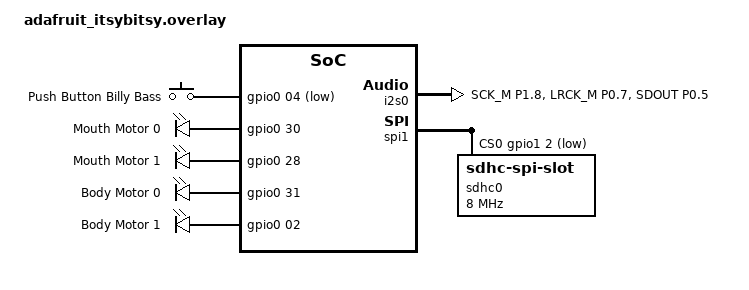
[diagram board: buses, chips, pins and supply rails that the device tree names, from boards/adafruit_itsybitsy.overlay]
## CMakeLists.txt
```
#-------------------------------------------------------------------------------
# Zephyr Example Application
#
# Copyright (c) 2021 Nordic Semiconductor ASA
# SPDX-License-Identifier: Apache-2.0

cmake_minimum_required(VERSION 3.13.1)
find_package(Zephyr REQUIRED HINTS $ENV{ZEPHYR_BASE})

project(app LANGUAGES C)

target_sources(app PRIVATE src/main.c src/shell.c src/bmbbp.c src/audio.c src/motor.c)
```

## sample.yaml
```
# This file is provided so that the application can be compiled using Twister,
# the Zephyr testing tool. In this file, multiple combinations can be specified,
# so that you can easily test all of them locally or in CI.
sample:
  description: Big Mouth Billy Bass
  name: bmbb 
common:
  build_only: true
  modules:
    - fatfs
  integration_platforms:
    - adafruit_itsybitsy
tests:
  app.default: {}
  app.debug:
    extra_overlay_confs:
      - debug.conf
```

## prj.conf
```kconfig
# Copyright (c) 2021 Nordic Semiconductor ASA
# SPDX-License-Identifier: Apache-2.0
#
# This file contains selected Kconfig options for the application.
CONFIG_HEAP_MEM_POOL_SIZE=131072
CONFIG_SPI=y
CONFIG_DISK_ACCESS=y
CONFIG_DISK_DRIVER_SDMMC=y
CONFIG_LOG=y
CONFIG_FILE_SYSTEM=y
CONFIG_FAT_FILESYSTEM_ELM=y
CONFIG_PRINTK=y
CONFIG_MAIN_STACK_SIZE=2048
CONFIG_FS_FATFS_MOUNT_MKFS=n
CONFIG_GPIO=y
CONFIG_RETAINED_MEM=y
CONFIG_REBOOT=y
CONFIG_SHELL=y
CONFIG_FILE_SYSTEM_SHELL=y
CONFIG_GPIO_SHELL=y
CONFIG_INPUT=y
CONFIG_I2S=y
CONFIG_POWEROFF=y
```

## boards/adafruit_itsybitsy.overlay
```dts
/*
 * Copyright (c) 2021 Nordic Semiconductor ASA
 * SPDX-License-Identifier: Apache-2.0
 */

/* This devicetree overlay file will be automatically picked by the Zephyr
 * build system when building the sample for the nucleo_f302r8 board. It shows
 * how the example-application can be built on sample boards already provided
 * by Zephyr.
 */

/ {
	aliases {
		speaker-i2s = &i2s0;
	};

	buttons {
		button1: button_1 {
			gpios = <&gpio0 04 (GPIO_PULL_UP | GPIO_ACTIVE_LOW)>;
			label = "Push Button Billy Bass";
			zephyr,code = <INPUT_KEY_1>;
		};
	};

	longpress: longpress {
		input = <&{/buttons}>;
		compatible = "zephyr,input-longpress";
		input-codes = <INPUT_KEY_0>, <INPUT_KEY_1>;
		short-codes = <INPUT_KEY_A>, <INPUT_KEY_A>;
		long-codes  = <INPUT_KEY_B>, <INPUT_KEY_B>;
		long-delay-ms = <3000>;
	};

	/* These should be PWMs but it seems like they only
	 * work well if driven at 100% so might as well make 
	 * them gpios.
	 */
	motors {
		compatible = "gpio-leds";
		mouth0: mouth_0 {
			gpios = <&gpio0 30 GPIO_ACTIVE_HIGH>;
			label = "Mouth Motor 0";
		};
		mouth1: mouth_1 {
			gpios = <&gpio0 28 GPIO_ACTIVE_HIGH>;
			label = "Mouth Motor 1";
		};
		body0: body_0 {
			gpios = <&gpio0 31 GPIO_ACTIVE_HIGH>;
			label = "Body Motor 0";
		};
		body1: body_1 {
			gpios = <&gpio0 02 GPIO_ACTIVE_HIGH>;
			label = "Body Motor 1";
		};
	};

};

&pinctrl {
	/* i2s0 pin config:
	 * SCK:  P1.08, pin "7" on PCB
	 * LRCK: P0.07, pin "9" on PCB
	 * SDOUT: P0.05, pin "10" on PCB
	 */
	i2s0_default: i2s0_default {
		group1 {
			psels = <NRF_PSEL(I2S_SCK_M, 1, 8)>,
				<NRF_PSEL(I2S_LRCK_M, 0, 7)>,
				<NRF_PSEL(I2S_SDOUT, 0, 5)>;
		};
	};

	i2s0_sleep: i2s0_sleep {
		group1 {
			psels = <NRF_PSEL(I2S_SCK_M, 1, 8)>,
				<NRF_PSEL(I2S_LRCK_M, 0, 7)>,
				<NRF_PSEL(I2S_SDOUT, 0, 5)>;
			low-power-enable;
		};
	};
};

&i2s0 {
	compatible = "nordic,nrf-i2s";
	status = "okay";
	pinctrl-0 = <&i2s0_default>;
	pinctrl-1 = <&i2s0_sleep>;
	pinctrl-names = "default", "sleep";
};

&spi1 {
	/* microSD Card */
	cs-gpios = <&gpio1 2 GPIO_ACTIVE_LOW>;
	sdhc0: sdhc@0 {
		status = "okay";
		compatible = "zephyr,sdhc-spi-slot";
		reg = <0>;
		spi-max-frequency = <8000000>;
		mmc {
			status = "okay";
			compatible = "zephyr,sdmmc-disk";
			disk-name = "SD";
		};
	};
};

&adc {
	status = "disabled";
};

&i2c0 {
	status = "disabled";
};

&qspi {
	status = "disabled";
};
```

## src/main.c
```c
/*
 * Copyright (c) 2016 Intel Corporation
 *
 * SPDX-License-Identifier: Apache-2.0
 */

#include <zephyr/device.h>
#include <zephyr/drivers/gpio.h>
#include <zephyr/drivers/hwinfo.h>
#include <zephyr/fs/fs.h>
#include <zephyr/input/input.h>
#include <zephyr/kernel.h>
#include <zephyr/logging/log.h>
#include <zephyr/storage/disk_access.h>
#include <zephyr/sys/poweroff.h>

#include "bmbbp.h"

#define DISK_DRIVE_NAME "SD"
#define DISK_MOUNT_PT "/"DISK_DRIVE_NAME":"
#define FS_RET_OK FR_OK

#include <ff.h>

LOG_MODULE_REGISTER(bmbb);

static FATFS fat_fs;
/* mounting info */
static struct fs_mount_t mp = {
	.type = FS_FATFS,
	.fs_data = &fat_fs,
	.flags = FS_MOUNT_FLAG_READ_ONLY | FS_MOUNT_FLAG_NO_FORMAT,
};

#define FS_RET_OK FR_OK

static const char *disk_mount_pt = DISK_MOUNT_PT;
static const char *disk_songs_dir = DISK_MOUNT_PT"/SONGS";
static const char *disk_jokes_dir = DISK_MOUNT_PT"/JOKES";

void register_shell_cmds(void);

#define SHUTDOWN_TIME K_SECONDS(600)

static const struct gpio_dt_spec button1 = GPIO_DT_SPEC_GET(DT_NODELABEL(button1), gpios);

static void shutdown_handler(struct k_timer *timer_id)
{
	int ret;

	/* configure button1 as input, interrupt as level active to allow wake-up */
	ret = gpio_pin_configure_dt(&button1, GPIO_INPUT);
	if (ret < 0) {
		LOG_INF("Could not configure button1 GPIO (%d)\n", ret);
		return;
	}

	ret = gpio_pin_interrupt_configure_dt(&button1, GPIO_INT_LEVEL_ACTIVE);
	if (ret < 0) {
		LOG_INF("Could not configure button1 GPIO interrupt (%d)\n", ret);
		return;
	}
	LOG_INF("Shutting down");
	k_sleep(K_SECONDS(5));
	sys_poweroff();
}

K_TIMER_DEFINE(shutdown_timer, shutdown_handler, NULL);

/* List dir entry by path
 *
 * @param path Absolute path to list
 *
 * @return Negative errno code on error, number of listed entries on
 *		   success.
 */
static int find_songs(bmbbp_mode_t mode, const char *path)
{
	int res;
	struct fs_dir_t dirp;
	struct fs_file_t filep;
	static struct fs_dirent entry;

	fs_dir_t_init(&dirp);
	fs_file_t_init(&filep);

	/* Verify fs_opendir() */
	res = fs_opendir(&dirp, path);
	if (res) {
		LOG_ERR("Error opening dir %s [%d]", path, res);
		return res;
	}

	for (;;) {
		/* Verify fs_readdir() */
		res = fs_readdir(&dirp, &entry);

		/* entry.name[0] == 0 means end-of-dir */
		if (res || entry.name[0] == 0) {
			break;
		}

		if (entry.type != FS_DIR_ENTRY_DIR) {
			size_t namelen = strlen(entry.name);
			if (strncmp(entry.name + namelen - 4, ".WAV", 4) == 0)
			{
				LOG_INF("Found wav file %s", entry.name);
				/* Find the .dat file with the instructions */
				size_t buffersz = strlen(path) + namelen + 2;
				char *wavfile = k_malloc(buffersz);
				char *datfile = k_malloc(buffersz);
				memset(wavfile, 0, buffersz);
				memset(datfile, 0, buffersz);
				snprintf(wavfile, buffersz, "%s/%s", path, entry.name);
				strncpy(datfile, wavfile, buffersz);
				/* Replace the .WAV with .DAT */
				char *dot = strrchr(datfile, '.');
				if (dot != NULL) {
					*dot = '\0';
					strcat(datfile, ".DAT");
				} else {
					LOG_ERR("Couldn't find the . in filename %s ?!", datfile);
				}
				bmbbp_add(mode, wavfile, datfile);
			}
		}
	}

	/* Verify fs_closedir() */
	fs_closedir(&dirp);

	return 0;
}

static void input_cb(struct input_event *evt, void *user_data)
{
	ARG_UNUSED(user_data);

	if (evt->code == INPUT_KEY_A && evt->value == 1) {
		/* Short press, next song/joke */
		bmbbp_cancel_current_song();
		const char *wav = bmbbp_next_song();
		LOG_INF("Playing song %s", wav);
		bmbbp_start_playing();
		k_timer_start(&shutdown_timer, SHUTDOWN_TIME, K_NO_WAIT);
	} else if (evt->code == INPUT_KEY_B && evt->value == 1) {
		k_timer_start(&shutdown_timer, SHUTDOWN_TIME, K_NO_WAIT);
		LOG_INF("Long press, switching mode");
		bmbbp_toggle_mode();
	}
}

static const struct device *const longpress_dev = DEVICE_DT_GET(DT_NODELABEL(longpress));
INPUT_CALLBACK_DEFINE(longpress_dev, input_cb, NULL);

int main(void)
{
	uint32_t reset_cause;
	hwinfo_get_reset_cause(&reset_cause);
	hwinfo_clear_reset_cause();
	LOG_INF("Reset cause: 0x%04x", reset_cause);

	mp.mnt_point = disk_mount_pt;

	int res = fs_mount(&mp);

	if (res == FS_RET_OK) {
		LOG_INF("Disk mounted.");
		find_songs(SONGS, disk_songs_dir);
		find_songs(JOKES, disk_jokes_dir);
	} else {
		LOG_ERR("Error mounting disk.");
	}

	bmbbp_init();

	if (reset_cause & RESET_LOW_POWER_WAKE) {
		// Woken up from pressing the button, play the song
		bmbbp_cancel_current_song();
		const char *wav = bmbbp_next_song();
		LOG_INF("Playing song %s", wav);
		bmbbp_start_playing();
	}

	k_timer_start(&shutdown_timer, SHUTDOWN_TIME, K_NO_WAIT);

	return 0;
}
```

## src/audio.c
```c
#include <zephyr/drivers/i2s.h>
#include <zephyr/fs/fs.h>
#include <zephyr/kernel.h>
#include <zephyr/logging/log.h>

#include "audio.h"

#define SAMPLE_FREQUENCY    44100
#define SAMPLE_BIT_WIDTH    16
#define BYTES_PER_SAMPLE    sizeof(int16_t)
#define NUMBER_OF_CHANNELS  1
/* Such block length provides delay of 100 ms. */
#define SAMPLES_PER_BLOCK   ((SAMPLE_FREQUENCY / 10) * NUMBER_OF_CHANNELS)
#define INITIAL_BLOCKS      2
#define TIMEOUT             1000


#define BLOCK_SIZE  (BYTES_PER_SAMPLE * SAMPLES_PER_BLOCK)
#define BLOCK_COUNT (INITIAL_BLOCKS + 2)
K_MEM_SLAB_DEFINE_STATIC(mem_slab, BLOCK_SIZE, BLOCK_COUNT, 4);

#define I2S_NODE  DT_NODELABEL(i2s0)

LOG_MODULE_DECLARE(bmbb);

/* Define the thread to play audio */
#define AUDIO_STACK_SIZE 2048
K_THREAD_STACK_DEFINE(audio_stack_area, AUDIO_STACK_SIZE);
struct k_thread audio_thread_data;

static struct {
	const struct device *i2s_dev;
	k_tid_t tid;
	bool cancel;
	void *mem_block[BLOCK_COUNT];
	struct fs_file_t file;
	int64_t start_timestamp;
} s_ctx;

void handle_playback(void *, void *, void *)
{
	int ret;
	size_t len;

	/* Apparently need to pre-fill the i2s before starting it */
	len = fs_read(&s_ctx.file, s_ctx.mem_block[0], BLOCK_SIZE);
	if (len < 0) {
		LOG_ERR("Failed to read from wav file: %d", len);
		goto done;
	} else if (len > 0) {
		/* Write the block to the I2S (blocking) */
		ret = i2s_write(s_ctx.i2s_dev, s_ctx.mem_block[0], len);
		if (ret < 0) {
			LOG_ERR("Failed to write wav block: %d", ret);
			goto done;
		}
	}
	k_yield();

	s_ctx.start_timestamp = k_uptime_get();
	LOG_INF("Starting the stream at: %lld", s_ctx.start_timestamp);

	/* Start the stream */
	ret = i2s_trigger(s_ctx.i2s_dev, I2S_DIR_TX, I2S_TRIGGER_START);
	if (ret < 0) {
		LOG_ERR("Failed to start i2s stream: %d", ret);
		goto done;
	}

	/* Fill with the rest */
	int block_idx = 1;
	do {
		k_yield();
		if (s_ctx.cancel) {
			LOG_INF("audio transmit cancelled");
			break;
		}

		/* Read a block from the file */
		len = fs_read(&s_ctx.file, s_ctx.mem_block[block_idx], BLOCK_SIZE);
		if (len < 0) {
			LOG_ERR("Failed to read from wav file: %d", len);
			break;
		} else if (len > 0) {
			/* Write the block to the I2S (blocking) */
			ret = i2s_write(s_ctx.i2s_dev, s_ctx.mem_block[block_idx], len);
			if (ret < 0) {
				LOG_ERR("Failed to write wav block %d of len %d: %d", block_idx, len, ret);
				break;
			}
		}
		if (len < BLOCK_SIZE) {
			/* End of file */
			break;
		}
		block_idx = (block_idx + 1) % BLOCK_COUNT;
	} while(1);

done:
	i2s_trigger(s_ctx.i2s_dev, I2S_DIR_TX, I2S_TRIGGER_DROP);
	fs_close(&s_ctx.file);
}

int audio_init(void)
{
	s_ctx.i2s_dev = DEVICE_DT_GET(I2S_NODE);
	s_ctx.tid = NULL;
	s_ctx.cancel = false;
	fs_file_t_init(&s_ctx.file);

	if (!device_is_ready(s_ctx.i2s_dev)) {
		LOG_ERR("%s is not ready", s_ctx.i2s_dev->name);
		return 0;
	}

	struct i2s_config cfg = {
		.word_size = SAMPLE_BIT_WIDTH,
		.channels = NUMBER_OF_CHANNELS,
		.format = I2S_FMT_DATA_FORMAT_I2S,
		.options = I2S_OPT_BIT_CLK_MASTER | I2S_OPT_FRAME_CLK_MASTER,
		.frame_clk_freq = SAMPLE_FREQUENCY,
		.mem_slab = &mem_slab,
		.block_size = BLOCK_SIZE,
		.timeout = TIMEOUT,
	};

	int ret = i2s_configure(s_ctx.i2s_dev, I2S_DIR_TX, &cfg);
	if (ret < 0) {
		LOG_ERR("Failed to configure audio stream: %d", ret);
	}

	/* Allocate the mem_slab blocks */
	for (int i = 0; i < BLOCK_COUNT; ++i) {
		ret = k_mem_slab_alloc(&mem_slab, &s_ctx.mem_block[i], K_NO_WAIT);
		if (ret < 0) {
			LOG_ERR("Failed to allocate audio TX block %d: %d", i, ret);
			return ret;
		}
	}

	s_ctx.start_timestamp = -1;

	return ret;
}

void audio_cancel(void)
{
	if (s_ctx.tid != NULL) {
		s_ctx.cancel = true;
		k_thread_join(s_ctx.tid, K_FOREVER);
	}
}

bool audio_busy(void)
{
	if (s_ctx.tid != NULL && k_thread_join(s_ctx.tid, K_NO_WAIT) != 0) {
		return true;
	}
	return false;
}

int audio_play(const char *filename)
{
	/* Make sure we're not currently playing */
	if (audio_busy()) {
		LOG_ERR("audio_play called while audio thread is running");
		return -EBUSY;
	}

	int err = fs_open(&s_ctx.file, filename, FS_O_READ);
	if (err != 0) {
		LOG_ERR("Failed to open %s for reading", filename);
		return err;
	}

	struct wav_header wavh;
	size_t len = fs_read(&s_ctx.file, &wavh, sizeof(wavh));
	if (len < sizeof(wavh)) {
		LOG_ERR("Only read %d bytes from audio file %s", len, filename);
		return len;
	}

	/*
	LOG_INF("Wav file data:");
	LOG_INF("\tfile_type_block_id=0x%08x", wavh.file_type_bloc_id);
	LOG_INF("\tfile_size=%d", wavh.file_size);
	LOG_INF("\tfile_format_id=0x%08x", wavh.file_format_id);
	LOG_INF("\tformat_bloc_id=0x%08x", wavh.format_bloc_id);
	LOG_INF("\tformat_bloc_size=%d", wavh.format_bloc_size);
	LOG_INF("\taudio_format=%d", wavh.audio_format);
	LOG_INF("\tnbr_channels=%d", wavh.nbr_channels);
	LOG_INF("\tfrequency=%d", wavh.frequency);
	LOG_INF("\tbytes_per_sec=%d", wavh.bytes_per_sec);
	LOG_INF("\tbytes_per_bloc=%d", wavh.bytes_per_bloc);
	LOG_INF("\tbits_per_sample=%d", wavh.bits_per_sample);
	LOG_INF("\tdata_block_id=0x%08x", wavh.data_block_id);
	LOG_INF("\tdata_size=%d", wavh.data_size);
	*/

	if (wavh.audio_format != 1 || wavh.nbr_channels != 1 || wavh.frequency != 44100 || wavh.bits_per_sample != 16) {
		LOG_ERR("WAV file format incorrect, must be mono PCM, 16 bits per sample, 44100");
		fs_close(&s_ctx.file);
		return -EINVAL;
	}

	s_ctx.cancel = false;
	s_ctx.tid = k_thread_create(&audio_thread_data, audio_stack_area,
			K_THREAD_STACK_SIZEOF(audio_stack_area),
			handle_playback, NULL, NULL, NULL, 5, 0, K_NO_WAIT);

	return 0;
}

uint32_t audio_playtime(void)
{
	if (s_ctx.start_timestamp == -1) {
		return 0;
	}
	return k_uptime_get() - s_ctx.start_timestamp;
}
```

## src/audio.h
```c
#ifndef __AUDIO_H__
#define __AUDIO_H__

#include <stdint.h>
#include <stdbool.h>

/* From wikipedia:
 * [Master RIFF chunk]
 *	  FileTypeBlocID  (4 bytes) : Identifier « RIFF »  (0x52, 0x49, 0x46, 0x46)
 *	  FileSize		  (4 bytes) : Overall file size minus 8 bytes
 *	  FileFormatID	  (4 bytes) : Format = « WAVE »  (0x57, 0x41, 0x56, 0x45)
 *
 * [Chunk describing the data format]
 *	  FormatBlocID	  (4 bytes) : Identifier « fmt␣ »  (0x66, 0x6D, 0x74, 0x20)
 *	  BlocSize		  (4 bytes) : Chunk size minus 8 bytes, which is 16 bytes here	(0x10)
 *	  AudioFormat	  (2 bytes) : Audio format (1: PCM integer, 3: IEEE 754 float)
 *	  NbrChannels	  (2 bytes) : Number of channels
 *	  Frequency		  (4 bytes) : Sample rate (in hertz)
 *	  BytePerSec	  (4 bytes) : Number of bytes to read per second (Frequency * BytePerBloc).
 *	  BytePerBloc	  (2 bytes) : Number of bytes per block (NbrChannels * BitsPerSample / 8).
 *	  BitsPerSample   (2 bytes) : Number of bits per sample
 *
 * [Chunk containing the sampled data]
 *	  DataBlocID	  (4 bytes) : Identifier « data »  (0x64, 0x61, 0x74, 0x61)
 *	  DataSize		  (4 bytes) : SampledData size
 *	  SampledData
 */

struct wav_header {
	uint32_t file_type_bloc_id;
	uint32_t file_size;
	uint32_t file_format_id;

	uint32_t format_bloc_id;
	uint32_t format_bloc_size;
	uint16_t audio_format;
	uint16_t nbr_channels;
	uint32_t frequency;
	uint32_t bytes_per_sec;
	uint16_t bytes_per_bloc;
	uint16_t bits_per_sample;

	uint32_t data_block_id;
	uint32_t data_size;
} __attribute__((packed));

int audio_init(void);

int audio_play(const char *filename);

void audio_cancel(void);

bool audio_busy(void);

uint32_t audio_playtime(void);

#endif
```

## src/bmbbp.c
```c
#include <stdint.h>
#include <stdlib.h>
#include <zephyr/fs/fs.h>
#include <zephyr/kernel.h>
#include <zephyr/logging/log.h>

#include "bmbbp.h"
#include "audio.h"
#include "motor.h"

/* Source code for the Big Mouth Billy Bass Protocol (bmbbp) */

/* Top list of audio files, which each have a list of instructions associated */
static sys_slist_t s_song_audios = SYS_SLIST_STATIC_INIT(&s_song_audios);
static sys_slist_t s_joke_audios = SYS_SLIST_STATIC_INIT(&s_joke_audios);
static bmbbp_mode_t s_mode = SONGS;
static struct bmbbp_audio *s_current_audio = NULL;

LOG_MODULE_DECLARE(bmbb);

static int add_instructions(const char *datfilename, sys_slist_t *instructions)
{
	struct fs_file_t datfile;
	fs_file_t_init(&datfile);

	int err = fs_open(&datfile, datfilename, FS_O_READ);
	if (err != 0) {
		LOG_ERR("Failed to open %s for reading", datfilename);
		return err;
	}

	/* Read instructions from .dat file.  Instructions are like 'M030500'
	* to open the mouth 30.5 seconds into the song.  To keep it simple:
	* 1. All timestamps must be 6 characters, 0 padded
	* 2. Must end in \n, windows not supported
	*/
	char line[8];
	ssize_t len;
	while (true) {
		len = fs_read(&datfile, line, sizeof(line));
		if (len < sizeof(line) || line[7] != '\n') {
			/* Probably EOF */
			break;
		}
		struct movement_instruction *new = k_malloc(sizeof(struct movement_instruction));
		switch (line[0]) {
		case 'H':
			new->type = HEAD;
			break;
		case 'M':
			new->type = MOUTH;
			break;
		case 'T':
			new->type = TAIL;
			break;
		case 'R':
			new->type = RELEASE;
			break;
		}
		/* Subtracting a 200ms fudge factor because that seems to match up better. */
		new->timestamp = strtoul(&line[1], NULL, 10) - 200;
		sys_slist_append(instructions, &new->node);
	}
	fs_close(&datfile);
	return 0;
}

int bmbbp_init(void)
{
	audio_init();
	motor_init();
	s_mode = SONGS;
	return 0;
}

int bmbbp_add(bmbbp_mode_t mode, const char *wavfilename, const char *datfilename)
{
	sys_slist_t *audiolist = mode == SONGS ? &s_song_audios : &s_joke_audios;
	struct bmbbp_audio *new = k_malloc(sizeof(struct bmbbp_audio));
	new->wav = wavfilename;
	sys_slist_init(&new->instructions);
	if (add_instructions(datfilename, &new->instructions) == 0) {
		LOG_INF("Added %d instructions for song %s", sys_slist_len(&new->instructions), new->wav);
		sys_slist_append(audiolist, &new->node);
		return 0;
	} else {
		/* Failed to parse instructions, don't add this to the list */
		k_free(new);
		return -1;
	}
}

void bmbbp_toggle_mode(void) {
	s_mode = !s_mode;
	s_current_audio = NULL;
}

const char *bmbbp_next_song(void)
{
	sys_slist_t *audiolist = s_mode == SONGS ? &s_song_audios : &s_joke_audios;
	if (s_current_audio == NULL || s_current_audio == SYS_SLIST_PEEK_TAIL_CONTAINER(audiolist, s_current_audio, node)) {
		s_current_audio = SYS_SLIST_PEEK_HEAD_CONTAINER(audiolist, s_current_audio, node);
	} else {
		s_current_audio = SYS_SLIST_PEEK_NEXT_CONTAINER(s_current_audio, node);
	}

	if (s_current_audio != NULL) {
		return s_current_audio->wav;
	}
	return NULL;
}

const char *bmbbp_current_song(void)
{
	if (s_current_audio == NULL) {
		return NULL;
	}
	return s_current_audio->wav;
}

void bmbbp_cancel_current_song(void)
{
	if (s_current_audio != NULL) {
		audio_cancel();
		motor_cancel();
	}
}

const char *bmbbp_start_playing(void)
{
	if (s_current_audio == NULL) {
		LOG_ERR("bmbbp start_playing called before next_song");
		return NULL;
	}

	int64_t initial_timestamp = k_uptime_get();
	LOG_INF("Initial timestamp: %lld", initial_timestamp);

	if (audio_play(s_current_audio->wav) != 0) {
		return NULL;
	}

	if (motor_start(s_current_audio->instructions, initial_timestamp) != 0) {
		return NULL;
	}

	return s_current_audio->wav;
}
```

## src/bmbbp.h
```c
#ifndef __BMBBP_H__
#define __BMBBP_H__

#include <zephyr/sys/slist.h>

typedef enum {
	SONGS,
	JOKES,
} bmbbp_mode_t;

typedef enum {
	HEAD,
	MOUTH,
	TAIL,
	RELEASE,
} bmbbp_movement_t;

struct movement_instruction {
	sys_snode_t node;
	bmbbp_movement_t type;
	int32_t timestamp;
};

struct bmbbp_audio {
	sys_snode_t node;
	const char *wav;
	sys_slist_t instructions;
};

int bmbbp_init();

int bmbbp_add(bmbbp_mode_t mode, const char *wavfilename, const char *datfilename);

void bmbbp_toggle_mode(void);

const char *bmbbp_next_song(void);

struct movement_instruction *bmbbp_next_instruction(void);

const char *bmbbp_current_song(void);

void bmbbp_cancel_current_song(void);

const char *bmbbp_start_playing(void);

#endif // __BMBBP_H__
```

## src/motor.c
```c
#include <zephyr/drivers/gpio.h>
#include <zephyr/kernel.h>
#include <zephyr/logging/log.h>
#include <zephyr/sys/slist.h>

#include "bmbbp.h"
#include "motor.h"
#include "audio.h"

static const struct gpio_dt_spec mouth0 = GPIO_DT_SPEC_GET(DT_NODELABEL(mouth0), gpios);
static const struct gpio_dt_spec mouth1 = GPIO_DT_SPEC_GET(DT_NODELABEL(mouth1), gpios);

static const struct gpio_dt_spec body0 = GPIO_DT_SPEC_GET(DT_NODELABEL(body0), gpios);
static const struct gpio_dt_spec body1 = GPIO_DT_SPEC_GET(DT_NODELABEL(body1), gpios);

/* Define the thread to control the motors */
#define MOTOR_STACK_SIZE 512
K_THREAD_STACK_DEFINE(motor_stack_area, MOTOR_STACK_SIZE);
struct k_thread motor_thread_data;

LOG_MODULE_DECLARE(bmbb);

static struct {
	k_tid_t tid;
	bool cancel;
	sys_slist_t instructions;
	struct movement_instruction *current_instruction;
} s_ctx;

static void move_head(void)
{
	gpio_pin_set_dt(&body1, 0);
	gpio_pin_set_dt(&body0, 1);
}

static void open_mouth(uint32_t delay_ms)
{
	gpio_pin_set_dt(&mouth0, 0);
	gpio_pin_set_dt(&mouth1, 1);
	k_msleep(delay_ms);
	gpio_pin_set_dt(&mouth1, 0);
}

static void move_tail(uint32_t delay_ms)
{
	gpio_pin_set_dt(&body0, 0);
	gpio_pin_set_dt(&body1, 1);
	k_msleep(delay_ms);
	gpio_pin_set_dt(&body1, 0);
}

static void release_body(void)
{
	gpio_pin_set_dt(&body0, 0);
	gpio_pin_set_dt(&body1, 0);
}

static void process_instruction(const struct movement_instruction *inst)
{
	switch (inst->type) {
	case HEAD:
		move_head();
		break;
	case MOUTH:
		open_mouth(100);
		break;
	case TAIL:
		move_tail(100);
		break;
	case RELEASE:
		release_body();
		break;
	}
}

void handle_motors(void *, void *, void *)
{
	struct movement_instruction *inst = SYS_SLIST_PEEK_HEAD_CONTAINER(&s_ctx.instructions, inst, node);

	while (inst != NULL && !s_ctx.cancel) {
		uint32_t playtime = audio_playtime();
		if (inst->timestamp > playtime) {
			k_msleep(inst->timestamp - playtime);
		}
		process_instruction(inst);
		inst = SYS_SLIST_PEEK_NEXT_CONTAINER(inst, node);
	}
}

int motor_init(void)
{
	int ret;

	if (!gpio_is_ready_dt(&mouth0) ||
		!gpio_is_ready_dt(&mouth1)	||
		!gpio_is_ready_dt(&body0)	||
		!gpio_is_ready_dt(&body1)) 
	{
		return -1;
	}

	ret = gpio_pin_configure_dt(&mouth0, GPIO_OUTPUT_INACTIVE);
	if (ret < 0) {
		return ret;
	}
	ret = gpio_pin_configure_dt(&mouth1, GPIO_OUTPUT_INACTIVE);
	if (ret < 0) {
		return ret;
	}
	ret = gpio_pin_configure_dt(&body0, GPIO_OUTPUT_INACTIVE);
	if (ret < 0) {
		return ret;
	}
	ret = gpio_pin_configure_dt(&body1, GPIO_OUTPUT_INACTIVE);
	if (ret < 0) {
		return ret;
	}
	return 0;
}

int motor_start(sys_slist_t instructions, int64_t initial_timestamp)
{
	/* Make sure we're not currently playing */
	if (motor_busy()) {
		LOG_ERR("motor_start called while motor thread is running");
		return -EBUSY;
	}

	s_ctx.instructions = instructions;

	s_ctx.cancel = false;
	s_ctx.tid = k_thread_create(&motor_thread_data, motor_stack_area,
			K_THREAD_STACK_SIZEOF(motor_stack_area),
			handle_motors, NULL, NULL, NULL, 5, 0, K_NO_WAIT);

	return 0;
}

void motor_cancel(void)
{
	if (s_ctx.tid != NULL) {
		s_ctx.cancel = true;
		k_thread_join(s_ctx.tid, K_FOREVER);
	}
}

bool motor_busy(void)
{
	if (s_ctx.tid != NULL && k_thread_join(s_ctx.tid, K_NO_WAIT) != 0) {
		return true;
	}
	return false;
}
```

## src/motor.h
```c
#ifndef __MOTOR_H__
#define __MOTOR_H__

#include <zephyr/sys/slist.h>

int motor_init(void);

int motor_start(sys_slist_t instructions, int64_t initial_timestamp);

void motor_cancel(void);

bool motor_busy(void);

#endif // __MOTOR_H__
```

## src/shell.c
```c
#include <zephyr/drivers/retained_mem.h>
#include <zephyr/shell/shell.h>
#include <zephyr/sys/reboot.h>

#include "bmbbp.h"

/* For the UF2 bootloader, we can trigger DFU mode by 
 * writing magic value 0x57 to GPREGRET register and then rebooting.
 */

static int dfu_handler(const struct shell *sh, size_t argc, char **argv)
{
	ARG_UNUSED(argc);
	ARG_UNUSED(argv);

	/* read the GPREGRET register */
	const struct device *const mem_dev = DEVICE_DT_GET(DT_NODELABEL(gpregret1));

	if (device_is_ready(mem_dev)) {
		shell_print(sh, "Rebooting into DFU mode");
		uint8_t val = 0x57;
		if (retained_mem_write(mem_dev, 0, &val, 1) == 0) {
			sys_reboot(SYS_REBOOT_WARM);
		} else {
			shell_error(sh, "Failed to write to GPREGRET");
		}
	} else {
		shell_error(sh, "Could not find gpregret1 device");
	}
	return 0;
}

SHELL_CMD_REGISTER(dfu, NULL, "Go to DFU mode for UF2", dfu_handler);

static int bmbb_cancel_handler(const struct shell *sh, size_t argc, char **argv)
{
	ARG_UNUSED(argc);
	ARG_UNUSED(argv);

	const char *wav = bmbbp_current_song();
	if (wav == NULL) {
		shell_print(sh, "No current song playing");
	} else {
		shell_print(sh, "Canceling %s", wav);
		bmbbp_cancel_current_song();
	}
	return 0;
}

static int bmbb_next_handler(const struct shell *sh, size_t argc, char **argv)
{
	ARG_UNUSED(argc);
	ARG_UNUSED(argv);

	const char *wav = bmbbp_next_song();
	shell_print(sh, "Next song is now %s", wav);
	return 0;
}

static int bmbb_play_handler(const struct shell *sh, size_t argc, char **argv)
{
	ARG_UNUSED(argc);
	ARG_UNUSED(argv);

	const char *wav = bmbbp_start_playing();
	shell_print(sh, "Now playing %s", wav);
	return 0;
}

static int bmbb_mode_handler(const struct shell *sh, size_t argc, char **argv)
{
	bmbbp_toggle_mode();
	return 0;
}

SHELL_STATIC_SUBCMD_SET_CREATE(sub_bmbb,
		SHELL_CMD(cancel, NULL, "Cancel current audio", bmbb_cancel_handler),
		SHELL_CMD(next, NULL, "Set to next audio", bmbb_next_handler),
		SHELL_CMD(play, NULL, "Play current audio", bmbb_play_handler),
		SHELL_CMD(mode, NULL, "Toggle songs/jokes mode", bmbb_mode_handler),
		SHELL_SUBCMD_SET_END
);

SHELL_CMD_REGISTER(bmbb, &sub_bmbb, "Big Mouth Billy Bass commands", NULL);
```
